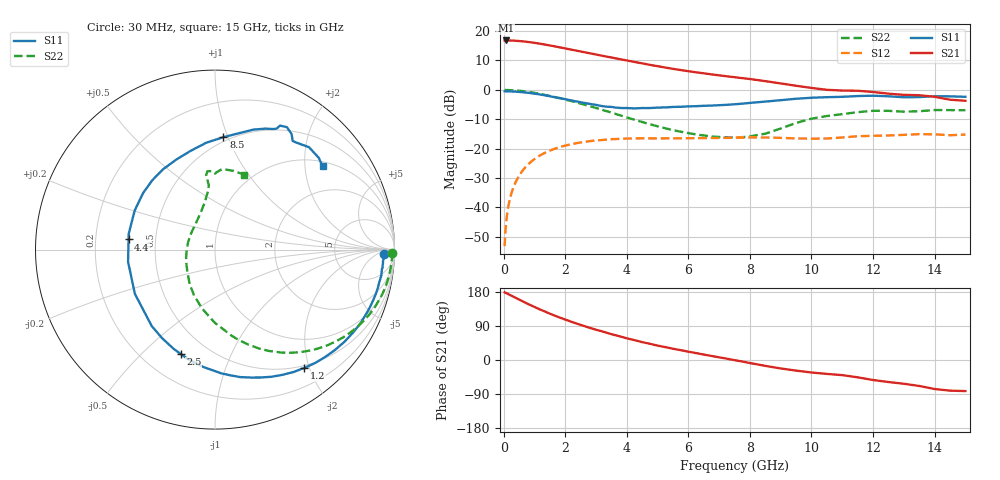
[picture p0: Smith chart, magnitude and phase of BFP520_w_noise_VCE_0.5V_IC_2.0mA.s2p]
! Infineon Technologies  Discrete & RF Semiconductors
! BFP520
! VCE =  0.5 V,  IC =  2.0 mA
! Common Emitter S-Parameters:  Oct 2015
# GHz  S  MA  R  50
!  f  S11  S21  S12  S22
! GHz  MAG  ANG  MAG  ANG  MAG  ANG  MAG  ANG
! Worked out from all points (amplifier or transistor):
!   109 points, 30 MHz to 15 GHz, reference 50 ohm
!   highest |S21| = 16.7 dB at 70 MHz (marker M1)
!   |S21| within 3 dB of that: start of sweep to 2.141 GHz
!   unconditionally stable (mu >= 1): 4.896 GHz to end of sweep
!   at 450 MHz: K = 0.06, MSG = 23.4 dB, |S12| = -30.1 dB
!   at 4 GHz: K = 0.80, MSG = 13.3 dB, |S12| = -16.6 dB
!   at 15 GHz: K = 1.70, MAG = 0.9 dB, |S12| = -15.2 dB
!   lowest NFmin = 0.94 dB at 900 MHz
!   S11 on the Smith chart (normalised r, x): 30 MHz: 28, -11; 1.2 GHz: 0.46, -1.92; 2.5 GHz: 0.36, -0.66; 4.4 GHz: 0.35, +0.05; 8.5 GHz: 0.47, +0.96; 15 GHz: 1.14, +2.47
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0.03  0.9391 -1.4  6.85 178.8  0.0022 87.2  0.9867 -1.0
0.07  0.9402 -3.1  6.863 176.8  0.0048 88.8  0.987 -2.2
0.2  0.9377 -8.9  6.851 171.8  0.0139 84.9  0.9833 -6.5
0.5  0.9175 -22.2  6.71 159.7  0.0345 77.0  0.9601 -16.2
0.8  0.8853 -35.5  6.452 147.5  0.0542 68.8  0.9185 -25.6
1.2  0.826 -53.0  6.018 132.7  0.0775 58.5  0.8451 -37.3
1.5  0.7755 -66.0  5.647 122.3  0.0924 51.3  0.7834 -45.4
1.8  0.7242 -78.8  5.268 112.7  0.1051 44.7  0.7208 -52.8
2.2  0.6573 -95.7  4.792 100.8  0.1188 36.6  0.6395 -62.0
2.5  0.6117 -108.3  4.459 92.7  0.1269 31.0  0.581 -68.3
2.6  0.5994 -112.5  4.355 90.0  0.1294 29.3  0.5624 -70.5
3  0.5529 -129.6  3.964 79.9  0.1374 22.6  0.4895 -79.0
3.5  0.5099 -151.1  3.528 68.1  0.1445 15.0  0.4084 -90.0
4  0.4891 -172.0  3.141 57.2  0.1481 8.3  0.3383 -101.8
4.4  0.4847 173.3  2.862 49.3  0.149 3.7  0.2927 -111.3
5.1  0.4981 151.7  2.456 36.4  0.149 -2.9  0.2317 -128.0
6.2  0.5242 128.3  1.992 19.0  0.1502 -10.9  0.1756 -155.2
7.6  0.5711 102.1  1.607 -1.8  0.1533 -19.9  0.1554 160.1
8.5  0.6283 85.7  1.397 -15.5  0.1542 -26.3  0.1792 127.3
10.5  0.7466 64.1  0.996 -36.7  0.1482 -33.8  0.3573 95.5
13  0.7439 54.4  0.818 -62.7  0.171 -47.7  0.4232 89.9
15  0.7575 37.7  0.649 -82.0  0.1729 -60.5  0.4481 68.6
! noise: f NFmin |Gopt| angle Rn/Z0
0.45  0.96  0.67  4  0.42
0.9  0.94  0.62  13  0.44
1.9  1.27  0.51  28  0.36
2.4  1.35  0.47  39  0.35
3.5  1.32  0.46  64  0.31
